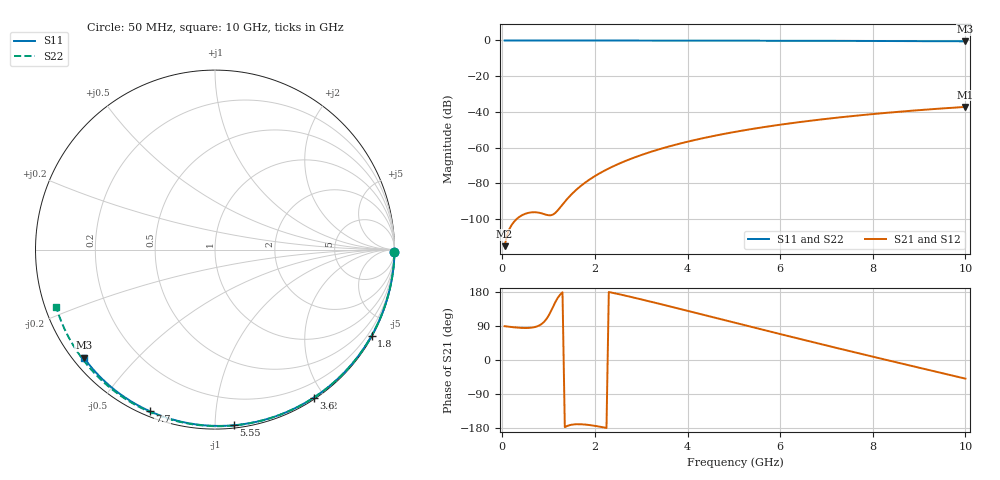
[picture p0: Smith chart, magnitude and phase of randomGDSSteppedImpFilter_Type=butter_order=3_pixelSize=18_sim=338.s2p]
! freq	dB(S11)	phase(S11)	dB(S12)	phase(S12)
!  dB(S21)	phase(S21)	dB(S22)	phase(S22)
!S-par simulation data
#  GHz  S  DB  R 50
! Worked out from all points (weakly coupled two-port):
!   200 points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, 50 MHz to 10 GHz, reference 50 ohm
!   highest |S21| = -37.17 dB at 10 GHz (marker M1); lowest = -115.1 dB at 50 MHz (marker M2)
!   lowest |S11| = -0.5 dB at 10 GHz (marker M3), VSWR 36.49, Z = 1.55 - j17.9 ohm
!   |S11| at or under -10 dB: nowhere
!   |S22| runs from -0.5 to 0.0 dB; largest |S21 - S12| = 0
!   S11 on the Smith chart (normalised r, x): 50 MHz: open; 1.8 GHz: 0.03, -3.89; 3.6 GHz: 0.02, -1.87; 5.55 GHz: 0.02, -1.11; 7.7 GHz: 0.02, -0.67; 10 GHz: 0.03, -0.36
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0.05  -0.00 -0.8  -115.10 89.2  -115.10 89.2  -0.00 -0.9
0.45  -0.01 -7.3  -97.48 84.5  -97.48 84.5  -0.01 -8.3
0.85  -0.02 -13.8  -96.74 95.1  -96.74 95.1  -0.02 -15.6
1.3  -0.03 -21.0  -91.80 178.6  -91.80 178.6  -0.03 -23.7
1.75  -0.04 -28.1  -80.29 -170.0  -80.29 -170.0  -0.04 -31.7
1.8  -0.04 -28.9  -79.33 -170.5  -79.33 -170.5  -0.04 -32.6
1.95  -0.04 -31.2  -76.69 -172.8  -76.69 -172.8  -0.04 -35.2
2.1  -0.04 -33.6  -74.36 -175.8  -74.36 -175.8  -0.05 -37.8
2.3  -0.05 -36.7  -71.60 179.4  -71.60 179.4  -0.05 -41.3
2.5  -0.05 -39.7  -69.17 174.2  -69.17 174.2  -0.06 -44.8
2.9  -0.06 -45.9  -65.02 162.9  -65.02 162.9  -0.07 -51.7
3.4  -0.07 -53.4  -60.79 148.1  -60.79 148.1  -0.08 -60.1
3.6  -0.08 -56.3  -59.31 142.0  -59.31 142.0  -0.09 -63.4
4.3  -0.09 -66.5  -54.87 120.5  -54.87 120.5  -0.11 -74.8
5.05  -0.12 -77.1  -51.03 97.5  -51.03 97.5  -0.13 -86.6
5.55  -0.14 -84.0  -48.87 82.2  -48.87 82.2  -0.15 -94.3
6.1  -0.16 -91.4  -46.78 65.4  -46.78 65.4  -0.18 -102.6
6.7  -0.19 -99.3  -44.77 47.3  -44.77 47.3  -0.22 -111.5
7.7  -0.26 -112.1  -41.94 17.6  -41.94 17.6  -0.29 -126.1
8.35  -0.31 -120.2  -40.37 -1.5  -40.37 -1.5  -0.35 -135.5
9.2  -0.39 -130.7  -38.59 -26.1  -38.59 -26.1  -0.43 -148.0
10  -0.48 -140.6  -37.17 -49.2  -37.17 -49.2  -0.53 -160.0
